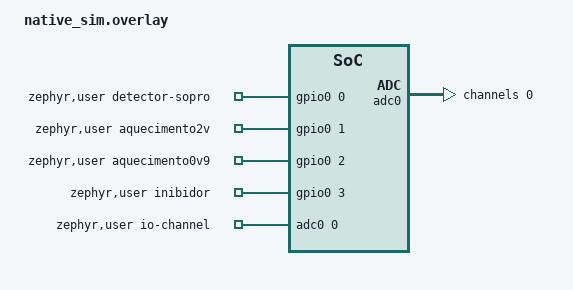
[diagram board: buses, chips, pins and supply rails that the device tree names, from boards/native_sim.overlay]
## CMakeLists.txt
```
cmake_minimum_required(VERSION 3.20.0)

find_package(Zephyr REQUIRED HINTS $ENV{ZEPHYR_BASE})
project(teste_maquina)

include(${CMAKE_CURRENT_SOURCE_DIR}/../../app/fontes.cmake)

target_include_directories(app PRIVATE ${BAFOMETRO_INCLUDES})
target_sources(app PRIVATE src/teste_maquina.c ${BAFOMETRO_FONTES})
```

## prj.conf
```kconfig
CONFIG_ZTEST=y
CONFIG_SMF=y
CONFIG_GPIO=y
CONFIG_ADC=y

CONFIG_LOG=y
CONFIG_LOG_DEFAULT_LEVEL=2

# Tempo simulado o mais rápido possível (os testes rodam só no native_sim)
CONFIG_NATIVE_SIM_SLOWDOWN_TO_REAL_TIME=n
```

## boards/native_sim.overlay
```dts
/*
 * native_sim: GPIO e ADC emulados. O roteiro de simulação e os testes acionam
 * o detector com gpio_emul_input_set() e definem a tensão sobre RL com
 * adc_emul_const_value_set().
 */

#include <zephyr/dt-bindings/adc/adc.h>
#include <zephyr/dt-bindings/gpio/gpio.h>

&adc0 {
	ref-internal-mv = <3300>;
	#address-cells = <1>;
	#size-cells = <0>;

	channel@0 {
		reg = <0>;
		zephyr,gain = "ADC_GAIN_1";
		zephyr,reference = "ADC_REF_INTERNAL";
		zephyr,acquisition-time = <ADC_ACQ_TIME_DEFAULT>;
		zephyr,resolution = <12>;
	};
};

/ {
	zephyr,user {
		io-channels = <&adc0 0>;
		detector-sopro-gpios = <&gpio0 0 GPIO_ACTIVE_HIGH>;
		aquecimento2v-gpios = <&gpio0 1 GPIO_ACTIVE_HIGH>;
		aquecimento0v9-gpios = <&gpio0 2 GPIO_ACTIVE_HIGH>;
		inibidor-gpios = <&gpio0 3 GPIO_ACTIVE_HIGH>;
	};
};
```

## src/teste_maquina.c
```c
/*
 * Testes da máquina de estados no native_sim, com eventos injetados:
 * o detector é acionado pelo GPIO emulado, a tensão sobre RL vem do ADC
 * emulado e o tempo é o simulado.
 */

#include <zephyr/drivers/adc.h>
#include <zephyr/drivers/adc/adc_emul.h>
#include <zephyr/drivers/gpio.h>
#include <zephyr/drivers/gpio/gpio_emul.h>
#include <zephyr/kernel.h>
#include <zephyr/ztest.h>

#include "aplicacao/bafometro.h"
#include "config_produto.h"
#include "dispositivos/inibidor.h"

static const struct gpio_dt_spec pinoDetector =
	GPIO_DT_SPEC_GET(DT_PATH(zephyr_user), detector_sopro_gpios);
static const struct gpio_dt_spec pinoAquecimento2V =
	GPIO_DT_SPEC_GET(DT_PATH(zephyr_user), aquecimento2v_gpios);
static const struct gpio_dt_spec pinoAquecimento0V9 =
	GPIO_DT_SPEC_GET(DT_PATH(zephyr_user), aquecimento0v9_gpios);
static const struct gpio_dt_spec pinoInibidor =
	GPIO_DT_SPEC_GET(DT_PATH(zephyr_user), inibidor_gpios);
static const struct adc_dt_spec canalSensor = ADC_DT_SPEC_GET(DT_PATH(zephyr_user));

/* Tensão sobre RL para uma razão Rs/R0, com o R0 padrão: VRL = VCC * RL / (RL + Rs). */
static uint32_t tensaoParaRelacaoMv(float relacaoRsR0)
{
	const float rsOhms = (float)R0_PADRAO_OHMS * relacaoRsR0;

	return (uint32_t)(TENSAO_ALIMENTACAO_MV * RESISTENCIA_CARGA_OHMS /
				  (RESISTENCIA_CARGA_OHMS + rsOhms) +
			  0.5f);
}

static void definirTensaoMv(uint32_t tensaoMv)
{
	zassert_ok(adc_emul_const_value_set(canalSensor.dev, canalSensor.channel_id, tensaoMv));
}

static int pino(const struct gpio_dt_spec *spec)
{
	return gpio_emul_output_get(spec->port, spec->pin);
}

static void soprar(bool presente)
{
	zassert_ok(gpio_emul_input_set(pinoDetector.port, pinoDetector.pin, presente ? 1 : 0));
}

/* Processa eventos até a máquina chegar ao estado alvo ou o tempo simulado esgotar. */
static bool processarAte(enum EstadoBafometro alvo, uint32_t limiteMs)
{
	int64_t inicio = k_uptime_get();

	while (bafometro_estadoAtual() != alvo) {
		if ((k_uptime_get() - inicio) > limiteMs) {
			return false;
		}
		(void)bafometro_processarProximoEvento(K_MSEC(10));
	}

	return true;
}

/* Processa eventos durante um intervalo de tempo simulado. */
static void processarPor(uint32_t duracaoMs)
{
	int64_t fim = k_uptime_get() + duracaoMs;

	while (k_uptime_get() < fim) {
		(void)bafometro_processarProximoEvento(K_MSEC(5));
	}
}

static void chegarEmAguardandoSopro(void)
{
	zassert_true(processarAte(ESTADO_AGUARDANDO_SOPRO,
				  TEMPO_PRE_AQUECIMENTO_MS + TEMPO_ACOMODACAO_FASE_MS + 100U));
}

static void chegarEmColetando(void)
{
	chegarEmAguardandoSopro();
	soprar(true);
	zassert_true(processarAte(ESTADO_COLETANDO, 10U));
}

static void antesDeCadaTeste(void *fixture)
{
	ARG_UNUSED(fixture);

	/* O pino só aceita valores depois de configurado na inicialização da máquina. */
	zassert_ok(bafometro_iniciar());
	soprar(false);
	definirTensaoMv(tensaoParaRelacaoMv(1.0f)); /* ar limpo */
}

/* Do aviso "Sopre" até o resultado, com a tensão já definida. */
static void medirSopro(void)
{
	chegarEmColetando();
	zassert_true(processarAte(ESTADO_APRESENTANDO_RESULTADO, TEMPO_SOPRO_MINIMO_MS + 100U));
	soprar(false);
}

/* Do resultado até o próximo aviso "Sopre", passando pela recuperação do sensor. */
static void aguardarProximoTeste(void)
{
	zassert_true(processarAte(ESTADO_AGUARDANDO_SOPRO,
				  TEMPO_APRESENTACAO_MS + TEMPO_MIN_ENTRE_TESTES_MS + 100U));
}

/* Teste em ar limpo que libera o inibidor e deixa a máquina pronta para outro sopro. */
static void liberarComArLimpo(void)
{
	medirSopro();
	zassert_false(inibidor_estaAtivo());
	zassert_equal(pino(&pinoInibidor), 0);
	aguardarProximoTeste();
}

ZTEST_SUITE(maquina, NULL, NULL, antesDeCadaTeste, NULL, NULL);

ZTEST(maquina, test_inicia_com_inibidor_ativo_em_pre_aquecimento)
{
	zassert_equal(bafometro_estadoAtual(), ESTADO_PRE_AQUECENDO);
	zassert_true(inibidor_estaAtivo());
	zassert_equal(pino(&pinoInibidor), 1);
}

ZTEST(maquina, test_fases_do_aquecedor_nos_pinos)
{
	/* Pré-aquecimento: 2,0 V (Q5) ligado, 0,9 V (Q7) desligado. */
	zassert_equal(pino(&pinoAquecimento2V), 1);
	zassert_equal(pino(&pinoAquecimento0V9), 0);

	chegarEmAguardandoSopro();
	zassert_equal(pino(&pinoAquecimento2V), 0);
	zassert_equal(pino(&pinoAquecimento0V9), 1);

	zassert_true(processarAte(ESTADO_ECONOMIA, TEMPO_ESPERA_SOPRO_MS + 100U));
	zassert_equal(pino(&pinoAquecimento2V), 0);
	zassert_equal(pino(&pinoAquecimento0V9), 0);
}

ZTEST(maquina, test_sopro_com_alcool_mantem_o_inibidor_ativo)
{
	definirTensaoMv(tensaoParaRelacaoMv(0.047f)); /* 200 ppm, 0,400 mg/L */
	medirSopro();
	zassert_true(inibidor_estaAtivo());
	zassert_equal(pino(&pinoInibidor), 1);
}

ZTEST(maquina, test_sopro_em_ar_limpo_libera_e_novo_sopro_com_alcool_inibe)
{
	medirSopro();
	zassert_false(inibidor_estaAtivo());
	zassert_equal(pino(&pinoInibidor), 0);

	zassert_true(processarAte(ESTADO_AGUARDANDO_SOPRO,
				  TEMPO_APRESENTACAO_MS + TEMPO_MIN_ENTRE_TESTES_MS + 100U));
	definirTensaoMv(tensaoParaRelacaoMv(0.047f));
	soprar(true);
	zassert_true(processarAte(ESTADO_APRESENTANDO_RESULTADO, TEMPO_SOPRO_MINIMO_MS + 100U));
	soprar(false);
	zassert_true(inibidor_estaAtivo());
	zassert_equal(pino(&pinoInibidor), 1);
}

/* Patamar que muda no meio do trecho estável: coeficiente de variação alto. */
static int tensaoInstavel(const struct device *dev, unsigned int canal, void *dados,
			  uint32_t *resultadoMv)
{
	uint32_t *leituras = dados;

	ARG_UNUSED(dev);
	ARG_UNUSED(canal);
	*resultadoMv = ((*leituras)++ < 75U) ? 2000U : 2600U;
	return 0;
}

/*
 * Sopro contínuo de 5 s com sinal instável, a partir do aviso "Sopre". A volta a
 * AGUARDANDO_SOPRO só depois dos 5 s completos mostra que a leitura foi descartada
 * pela qualidade, e não interrompida.
 */
static void soprarComSinalInstavel(void)
{
	static uint32_t leituras;
	int64_t inicio;

	leituras = 0U;
	zassert_ok(adc_emul_value_func_set(canalSensor.dev, canalSensor.channel_id, tensaoInstavel,
					   &leituras));
	soprar(true);
	zassert_true(processarAte(ESTADO_COLETANDO, 10U));
	inicio = k_uptime_get();
	zassert_true(processarAte(ESTADO_AGUARDANDO_SOPRO, TEMPO_SOPRO_MINIMO_MS + 100U));
	zassert_true((k_uptime_get() - inicio) >= (TEMPO_SOPRO_MINIMO_MS - 2));
	soprar(false);
}

ZTEST(maquina, test_leitura_instavel_nao_libera_o_inibidor_ativo)
{
	chegarEmAguardandoSopro();
	soprarComSinalInstavel();
	zassert_true(inibidor_estaAtivo());
	zassert_equal(pino(&pinoInibidor), 1);
}

/* RF09 e ADR 0002: leitura rejeitada pela qualidade não muda o estado, nos dois sentidos. */
ZTEST(maquina, test_leitura_instavel_mantem_o_inibidor_liberado)
{
	liberarComArLimpo();
	soprarComSinalInstavel();
	zassert_false(inibidor_estaAtivo());
	zassert_equal(pino(&pinoInibidor), 0);
}

/* RF10: sem o sensor, o nó do ADC fica preso a RL e só restam o offset e o ruído do ADC. */
ZTEST(maquina, test_sensor_desconectado_leva_ao_erro_e_ativa_o_inibidor)
{
	liberarComArLimpo();
	definirTensaoMv(5U);
	soprar(true);
	zassert_true(processarAte(ESTADO_ERRO, TEMPO_SOPRO_MINIMO_MS + 100U));
	soprar(false);
	zassert_equal(bafometro_codigoErro(), FALHA_SENSOR_ALCOOL);
	zassert_true(inibidor_estaAtivo());
	zassert_equal(pino(&pinoInibidor), 1);
}

/*
 * RF13: calibrar com 50 ppm no ar (Rs/R0 = 0,18) daria um R0 de 18 % do real, e um sopro
 * com álcool passaria a ser lido abaixo da curva. A faixa do R0 rejeita a calibração.
 */
ZTEST(maquina, test_calibracao_com_alcool_presente_e_rejeitada)
{
	liberarComArLimpo();
	definirTensaoMv(tensaoParaRelacaoMv(0.18f));
	zassert_ok(bafometro_publicarComando(COMANDO_CALIBRAR));
	zassert_true(processarAte(ESTADO_CALIBRANDO_R0, 10U));
	zassert_true(processarAte(ESTADO_AGUARDANDO_SOPRO,
				  QTD_AMOSTRAS_CALIBRACAO * INTERVALO_CALIBRACAO_MS + 100U));

	definirTensaoMv(tensaoParaRelacaoMv(0.047f)); /* 200 ppm */
	soprar(true);
	zassert_true(processarAte(ESTADO_APRESENTANDO_RESULTADO, TEMPO_SOPRO_MINIMO_MS + 100U));
	soprar(false);
	zassert_true(inibidor_estaAtivo());
	zassert_equal(pino(&pinoInibidor), 1);
}

ZTEST(maquina, test_tensao_nos_trilhos_leva_ao_erro)
{
	definirTensaoMv(0U);
	chegarEmColetando();
	zassert_true(processarAte(ESTADO_ERRO, TEMPO_SOPRO_MINIMO_MS + 100U));
	zassert_equal(bafometro_codigoErro(), FALHA_SENSOR_ALCOOL);
	zassert_true(inibidor_estaAtivo());
	zassert_equal(pino(&pinoAquecimento2V), 0);
	zassert_equal(pino(&pinoAquecimento0V9), 0);
	soprar(false);
}

ZTEST(maquina, test_pre_aquecimento_e_acomodacao_duram_o_configurado)
{
	int64_t inicio = k_uptime_get();

	chegarEmAguardandoSopro();
	zassert_within(k_uptime_get() - inicio, TEMPO_PRE_AQUECIMENTO_MS + TEMPO_ACOMODACAO_FASE_MS,
		       2);
}

ZTEST(maquina, test_sopro_continuo_coleta_por_5s)
{
	int64_t inicio;

	chegarEmColetando();
	inicio = k_uptime_get();
	zassert_true(processarAte(ESTADO_APRESENTANDO_RESULTADO, TEMPO_SOPRO_MINIMO_MS + 100U));
	zassert_within(k_uptime_get() - inicio, TEMPO_SOPRO_MINIMO_MS, 2);
	soprar(false);

	zassert_true(processarAte(ESTADO_FINALIZANDO, TEMPO_APRESENTACAO_MS + 100U));
	zassert_true(processarAte(ESTADO_AGUARDANDO_SOPRO, TEMPO_MIN_ENTRE_TESTES_MS + 100U));
}

ZTEST(maquina, test_sopro_interrompido_aos_3s_invalida_a_coleta)
{
	chegarEmColetando();
	processarPor(3000U);
	zassert_equal(bafometro_estadoAtual(), ESTADO_COLETANDO);

	soprar(false);
	zassert_true(processarAte(ESTADO_AGUARDANDO_SOPRO,
				  TOLERANCIA_QUEDA_SOPRO_MS + 2U * PERIODO_AMOSTRAGEM_MS));
}

ZTEST(maquina, test_microqueda_dentro_da_tolerancia_nao_invalida)
{
	chegarEmColetando();
	processarPor(1000U);
	soprar(false);
	processarPor(60U);
	soprar(true);

	zassert_true(processarAte(ESTADO_APRESENTANDO_RESULTADO, TEMPO_SOPRO_MINIMO_MS));
	soprar(false);
}

ZTEST(maquina, test_espera_esgotada_entra_em_economia_e_sopro_desperta)
{
	int64_t inicio;

	chegarEmAguardandoSopro();
	inicio = k_uptime_get();
	zassert_true(processarAte(ESTADO_ECONOMIA, TEMPO_ESPERA_SOPRO_MS + 100U));
	zassert_within(k_uptime_get() - inicio, TEMPO_ESPERA_SOPRO_MS, 2);

	soprar(true);
	zassert_true(processarAte(ESTADO_PRE_AQUECENDO, 10U));
	soprar(false);
}

ZTEST(maquina, test_comando_reinicia_a_espera_pelo_sopro)
{
	chegarEmAguardandoSopro();
	processarPor(TEMPO_ESPERA_SOPRO_MS - 1000U);
	zassert_ok(bafometro_publicarComando(COMANDO_INICIAR));

	/* O prazo original vence aqui, mas a espera foi reiniciada. */
	processarPor(1500U);
	zassert_equal(bafometro_estadoAtual(), ESTADO_AGUARDANDO_SOPRO);
	zassert_true(processarAte(ESTADO_ECONOMIA, TEMPO_ESPERA_SOPRO_MS));
}

ZTEST(maquina, test_evento_de_tempo_obsoleto_e_descartado)
{
	struct EventoBafometro obsoleto = {
		.tipo = EVENTO_TEMPO,
		.geracao = 0U,
	};
	uint32_t descartadosAntes;

	chegarEmAguardandoSopro();
	descartadosAntes = bafometro_eventosDescartados();

	zassert_ok(bafometro_publicarEvento(&obsoleto));
	zassert_ok(bafometro_processarProximoEvento(K_NO_WAIT));
	zassert_equal(bafometro_estadoAtual(), ESTADO_AGUARDANDO_SOPRO);
	zassert_equal(bafometro_eventosDescartados(), descartadosAntes + 1U);
}

ZTEST(maquina, test_fila_cheia_durante_a_coleta_invalida_a_medicao)
{
	uint32_t perdidosAntes;

	chegarEmColetando();
	perdidosAntes = bafometro_eventosPerdidos();

	/* Enche a fila sem processar: os tiques de amostragem seguintes se perdem. */
	for (int i = 0; i < QTD_POSICOES_FILA_EVENTOS; i++) {
		(void)bafometro_publicarComando(COMANDO_INICIAR);
	}
	k_sleep(K_MSEC(2U * PERIODO_AMOSTRAGEM_MS));
	zassert_true(bafometro_eventosPerdidos() > perdidosAntes);

	zassert_true(processarAte(ESTADO_AGUARDANDO_SOPRO, 3U * PERIODO_AMOSTRAGEM_MS));
	soprar(false);
}

/* RF10: a falha não depende da fila; mesmo perdida por fila cheia, leva ao ERRO. */
ZTEST(maquina, test_falha_com_fila_cheia_ainda_leva_ao_erro)
{
	medirSopro(); /* ar limpo: liberado, em APRESENTANDO_RESULTADO */
	zassert_false(inibidor_estaAtivo());

	for (int i = 0; i < QTD_POSICOES_FILA_EVENTOS; i++) {
		zassert_ok(bafometro_publicarComando(COMANDO_INICIAR));
	}
	zassert_not_equal(bafometro_publicarFalha(FALHA_SENSOR_ALCOOL), 0,
			  "a fila deveria estar cheia");

	zassert_true(processarAte(ESTADO_ERRO, 10U));
	zassert_equal(bafometro_codigoErro(), FALHA_SENSOR_ALCOOL);
	zassert_true(inibidor_estaAtivo());
	zassert_equal(pino(&pinoInibidor), 1);

	/* Os comandos que lotaram a fila e o próprio evento de falha não reabrem o ciclo. */
	processarPor(100U);
	zassert_equal(bafometro_estadoAtual(), ESTADO_ERRO);
	zassert_ok(bafometro_publicarComando(COMANDO_REINICIAR));
	zassert_true(processarAte(ESTADO_PRE_AQUECENDO, 10U));
	zassert_equal(bafometro_codigoErro(), FALHA_NENHUMA);
}

ZTEST(maquina, test_cancelar_na_espera_entra_em_economia)
{
	chegarEmAguardandoSopro();
	zassert_ok(bafometro_publicarComando(COMANDO_CANCELAR));
	zassert_true(processarAte(ESTADO_ECONOMIA, 10U));
}

ZTEST(maquina, test_falha_leva_ao_erro_com_inibidor_ativo)
{
	chegarEmAguardandoSopro();
	zassert_ok(bafometro_publicarFalha(FALHA_SENSOR_ALCOOL));
	zassert_true(processarAte(ESTADO_ERRO, 10U));
	zassert_true(inibidor_estaAtivo());

	/* Em erro, só o comando de reinício tira a máquina do estado. */
	soprar(true);
	zassert_ok(bafometro_publicarComando(COMANDO_INICIAR));
	processarPor(100U);
	zassert_equal(bafometro_estadoAtual(), ESTADO_ERRO);
	soprar(false);

	zassert_ok(bafometro_publicarComando(COMANDO_REINICIAR));
	zassert_true(processarAte(ESTADO_PRE_AQUECENDO, 10U));
	zassert_true(inibidor_estaAtivo());
}

ZTEST(maquina, test_calibrar_na_espera_volta_a_aguardar)
{
	int64_t inicio;

	chegarEmAguardandoSopro();
	zassert_ok(bafometro_publicarComando(COMANDO_CALIBRAR));
	zassert_true(processarAte(ESTADO_CALIBRANDO_R0, 10U));

	inicio = k_uptime_get();
	zassert_true(processarAte(ESTADO_AGUARDANDO_SOPRO,
				  QTD_AMOSTRAS_CALIBRACAO * INTERVALO_CALIBRACAO_MS + 100U));
	zassert_within(k_uptime_get() - inicio, QTD_AMOSTRAS_CALIBRACAO * INTERVALO_CALIBRACAO_MS,
		       2);
}

ZTEST(maquina, test_calibrar_em_economia_pre_aquece_antes_de_calibrar)
{
	chegarEmAguardandoSopro();
	zassert_true(processarAte(ESTADO_ECONOMIA, TEMPO_ESPERA_SOPRO_MS + 100U));

	zassert_ok(bafometro_publicarComando(COMANDO_CALIBRAR));
	zassert_true(processarAte(ESTADO_PRE_AQUECENDO, 10U));
	zassert_true(processarAte(ESTADO_CALIBRANDO_R0,
				  TEMPO_PRE_AQUECIMENTO_MS + TEMPO_ACOMODACAO_FASE_MS + 100U));
}

ZTEST(maquina, test_sopro_antes_do_aviso_e_ignorado)
{
	/* Sopro durante o pré-aquecimento: o detector ainda não está armado. */
	soprar(true);
	processarPor(100U);
	zassert_equal(bafometro_estadoAtual(), ESTADO_PRE_AQUECENDO);

	/* Mesmo contínuo, ele não conta: é preciso iniciar um sopro após o aviso. */
	chegarEmAguardandoSopro();
	processarPor(100U);
	zassert_equal(bafometro_estadoAtual(), ESTADO_AGUARDANDO_SOPRO);

	soprar(false);
	soprar(true);
	zassert_true(processarAte(ESTADO_COLETANDO, 10U));
	soprar(false);
}
```
